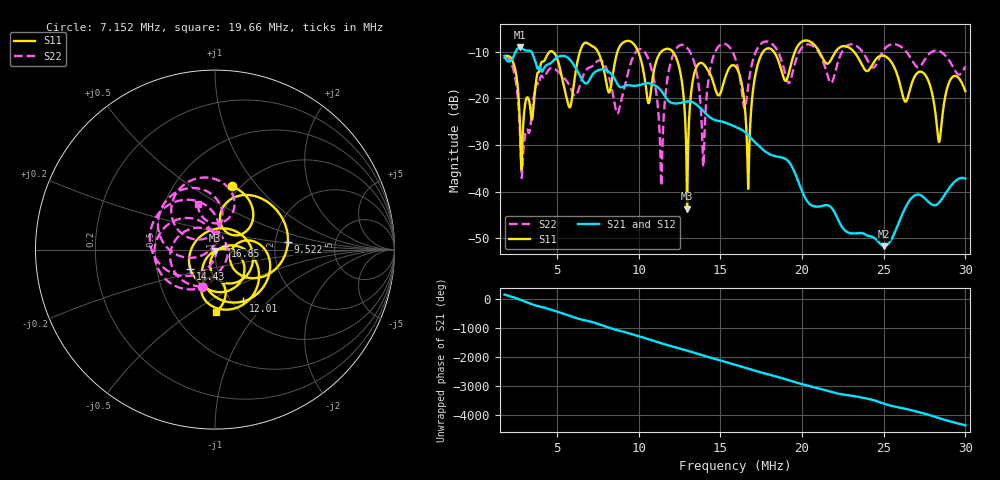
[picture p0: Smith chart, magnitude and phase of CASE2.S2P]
!Agilent Technologies,E5061B,MY49101568,A.02.00
!Date: Wed Mar 01 13:15:05 2023
!Data & Calibration Information:
!Freq	S11:SOLT2(OFF)	S21:SOLT2(OFF)	S12:SOLT2(OFF)	S22:SOLT2(OFF)
# Hz S dB R 50
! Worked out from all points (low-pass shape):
!   1155 points, 1.8 MHz to 30 MHz, reference 50 ohm
!   highest |S21| = -9.04 dB at 2.729 MHz (marker M1); lowest = -51.7 dB at 25.04 MHz (marker M2)
!   |S21| within 3 dB of the highest: 2.114 MHz to 3.682 MHz (1.568 MHz wide, 54.1 % of centre); 4.738 MHz to 5.89 MHz (1.152 MHz wide, 21.7 % of centre)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
!   lowest |S11| = -43.7 dB at 12.97 MHz (marker M3), VSWR 1.01, Z = 50.1 - j0.643 ohm
!   |S11| at or under -10 dB: start of sweep to 4.547 MHz; 12.1 MHz to 17.62 MHz (5.516 MHz wide, 37.1 % of centre); 23.19 MHz to end of sweep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
!   |S22| runs from -38.7 to -7.8 dB; largest |S21 - S12| = 0.0045
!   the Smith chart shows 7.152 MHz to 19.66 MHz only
!   S11 on the Smith chart (normalised r, x): 7.152 MHz: 0.91, +0.75; 9.522 MHz: 2.35, +0.23; 12.01 MHz: 1.12, -0.73; 14.43 MHz: 0.74, -0.16; 16.85 MHz: 1.12, +0.04; 19.66 MHz: 0.79, -0.63
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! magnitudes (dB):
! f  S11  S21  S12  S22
! 1.8 MHz  -11.2  -10.8  -10.8  -11.0
! 2.729 MHz  -24.6  -9.0  -9.0  -26.5
! 6.516 MHz  -8.9  -15.8  -15.7  -16.1
! 7.152 MHz  -8.7  -15.0  -14.9  -13.1
! 8.716 MHz  -9.9  -17.0  -16.9  -23.2
! 9.522 MHz  -7.8  -17.2  -17.2  -12.4
! 10.6 MHz  -21.0  -16.7  -16.8  -11.5
! 11.21 MHz  -10.9  -17.7  -17.7  -22.9
! 11.43 MHz  -9.8  -18.6  -18.6  -34.5
! 12.01 MHz  -9.7  -20.9  -21.0  -11.6
! 12.97 MHz  -43.7  -20.6  -20.7  -9.1
! 13.95 MHz  -12.5  -22.6  -22.7  -34.1
! 14.43 MHz  -15.1  -24.2  -24.2  -12.8
! 15.9 MHz  -13.0  -26.0  -26.1  -11.2
! 16.85 MHz  -24.3  -28.4  -28.5  -14.0
! 17.56 MHz  -10.3  -30.8  -31.0  -8.0
! 19.66 MHz  -9.2  -36.8  -36.9  -11.4
! 20.62 MHz  -8.1  -43.0  -43.0  -8.6
! 25.04 MHz  -10.9  -51.7  -51.7  -9.4
! 25.31 MHz  -11.5  -51.1  -51.1  -8.6
! 28.39 MHz  -29.3  -42.4  -42.3  -9.8
! 30 MHz  -18.4  -37.2  -37.2  -13.1
